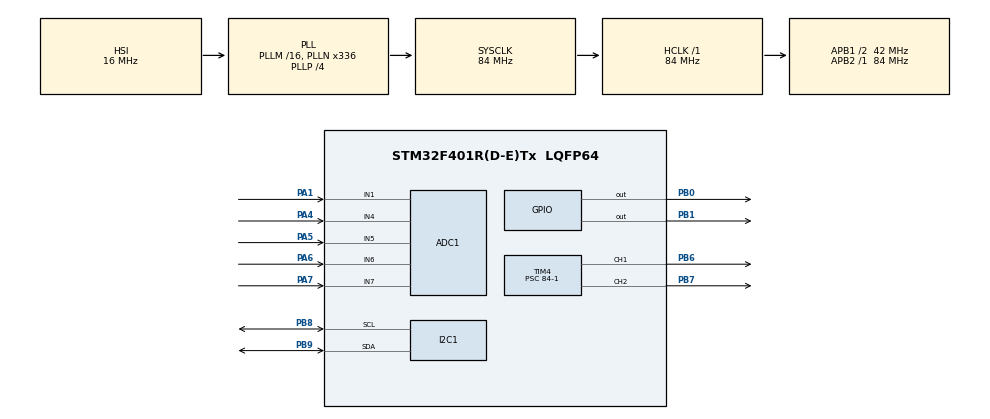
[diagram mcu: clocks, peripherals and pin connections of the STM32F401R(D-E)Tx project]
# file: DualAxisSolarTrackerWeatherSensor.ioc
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ADC1.Channel-0\#ChannelRegularConversion=ADC_CHANNEL_1
ADC1.NbrOfConversionFlag=1
ADC1.Rank-0\#ChannelRegularConversion=1
ADC1.SamplingTime-0\#ChannelRegularConversion=ADC_SAMPLETIME_3CYCLES
ADC1.master=1
Mcu.Family=STM32F4
Mcu.Name=STM32F401R(D-E)Tx
Mcu.Package=LQFP64
NVIC.PriorityGroup=NVIC_PRIORITYGROUP_4
PA1.Signal=ADCx_IN1
PA13.Mode=Serial_Wire
PA13.Signal=SYS_JTMS-SWDIO
PA14.Mode=Serial_Wire
PA14.Signal=SYS_JTCK-SWCLK
PA4.Signal=ADCx_IN4
PA5.Signal=ADCx_IN5
PA6.Signal=ADCx_IN6
PA7.Signal=ADCx_IN7
PB0.Signal=GPIO_Output
PB1.Signal=GPIO_Output
PB6.Signal=S_TIM4_CH1
PB7.Signal=S_TIM4_CH2
PB8.Mode=I2C
PB8.Signal=I2C1_SCL
PB9.Mode=I2C
PB9.Signal=I2C1_SDA
PH0\ -\ OSC_IN.Mode=HSE-External-Oscillator
PH0\ -\ OSC_IN.Signal=RCC_OSC_IN
PH1\ -\ OSC_OUT.Mode=HSE-External-Oscillator
PH1\ -\ OSC_OUT.Signal=RCC_OSC_OUT
ProjectManager.HeapSize=0x200
ProjectManager.StackSize=0x400
ProjectManager.TargetToolchain=STM32CubeIDE
RCC.48MHZClocksFreq_Value=48000000
RCC.AHBFreq_Value=84000000
RCC.APB1CLKDivider=RCC_HCLK_DIV2
RCC.APB1Freq_Value=42000000
RCC.APB1TimFreq_Value=84000000
RCC.APB2Freq_Value=84000000
RCC.APB2TimFreq_Value=84000000
RCC.CortexFreq_Value=84000000
RCC.HCLKFreq_Value=84000000
RCC.HSE_VALUE=8000000
RCC.HSI_VALUE=16000000
RCC.PLLN=336
RCC.PLLP=RCC_PLLP_DIV4
RCC.PLLQ=7
RCC.SYSCLKFreq_VALUE=84000000
RCC.SYSCLKSource=RCC_SYSCLKSOURCE_PLLCLK
RCC.VCOOutputFreq_Value=336000000
SH.ADCx_IN1.0=ADC1_IN1,IN1
SH.ADCx_IN4.0=ADC1_IN4,IN4
SH.ADCx_IN5.0=ADC1_IN5,IN5
SH.ADCx_IN6.0=ADC1_IN6,IN6
SH.ADCx_IN7.0=ADC1_IN7,IN7
SH.S_TIM4_CH1.0=TIM4_CH1,PWM Generation1 CH1
SH.S_TIM4_CH2.0=TIM4_CH2,PWM Generation2 CH2
TIM4.Channel-PWM\ Generation1\ CH1=TIM_CHANNEL_1
TIM4.Channel-PWM\ Generation2\ CH2=TIM_CHANNEL_2
TIM4.Period=20000-1
TIM4.Prescaler=84-1
TIM4.Pulse-PWM\ Generation1\ CH1=1500
TIM4.Pulse-PWM\ Generation2\ CH2=1500
VP_TIM4_VS_ClockSourceINT.Mode=Internal
board=NUCLEO-F401RE

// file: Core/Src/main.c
/* USER CODE BEGIN Header */
/**
  ******************************************************************************
  * @file           : main.c
  * @brief          : Main program body
  ******************************************************************************
  * @attention
  *
  * Copyright (c) 2024 STMicroelectronics.
  * All rights reserved.
  *
  * This software is licensed under terms that can be found in the LICENSE file
  * in the root directory of this software component.
  * If no LICENSE file comes with this software, it is provided AS-IS.
  *
  ******************************************************************************
  */
/* USER CODE END Header */
#include "main.h"

/* USER CODE BEGIN Includes */
#include "i2c_lcd.h"
#include "dht11.h"
#include <stdio.h>
#include <stdlib.h>
/* USER CODE END Includes */

/* USER CODE BEGIN PD */
/* ADC channels for LDRs */
#define LDR_TR  ADC_CHANNEL_1   // Top-Right    (PA1)
#define LDR_TL  ADC_CHANNEL_4   // Top-Left     (PA4)
#define LDR_BR  ADC_CHANNEL_6   // Bottom-Right (PA6)
#define LDR_BL  ADC_CHANNEL_7   // Bottom-Left  (PA7)
#define RAIN    ADC_CHANNEL_5   // Rain Sensor  (PA5)
/* USER CODE END PD */

ADC_HandleTypeDef hadc1;

I2C_HandleTypeDef hi2c1;

TIM_HandleTypeDef htim4;
uint16_t ldr_values[4];        // Array to store LDR sensor values
float temperature = 0.0;        // Store temperature reading
float humidity = 0.0;          // Store humidity reading
uint16_t rain_value;           // Store rain sensor reading
char lcd_buffer[16];           // Buffer for LCD text formatting

/* USER CODE BEGIN PV */
#define RAIN_THRESHOLD 4000    // If reading > threshold, it's raining
/* USER CODE END PV */

void SystemClock_Config(void);
static void MX_GPIO_Init(void);
static void MX_ADC1_Init(void);
static void MX_I2C1_Init(void);
static void MX_TIM4_Init(void);

/* USER CODE BEGIN 0 */
static uint16_t Read_ADC(uint32_t channel);
void Set_Servo_Position(uint8_t servo, uint8_t angle);
void Update_LCD(void);
/* USER CODE END 0 */

int main(void)
{

  /* MCU Configuration--------------------------------------------------------*/

  /* Reset of all peripherals, Initializes the Flash interface and the Systick. */
  HAL_Init();

  /* Configure the system clock */
  SystemClock_Config();

  /* Initialize all configured peripherals */
  MX_GPIO_Init();
  MX_I2C1_Init();
  MX_ADC1_Init();
  MX_TIM4_Init();
  /* USER CODE BEGIN 2 */
  /* Start PWM for servos */
  HAL_TIM_PWM_Start(&htim4, TIM_CHANNEL_1);  // X-axis
  HAL_TIM_PWM_Start(&htim4, TIM_CHANNEL_2);  // Y-axis
  /* Initialize LCD */
  LCD_Init();
  /* Initial servo positions (center) */
  Set_Servo_Position(1, 90);  // X-axis
  Set_Servo_Position(2, 90);  // Y-axis
  /* USER CODE END 2 */

  /* Infinite loop */
  while (1)
  {

    /* USER CODE BEGIN 3 */
      /* Read LDR values */
      ldr_values[0] = Read_ADC(LDR_TR);
      ldr_values[1] = Read_ADC(LDR_TL);
      ldr_values[2] = Read_ADC(LDR_BR);
      ldr_values[3] = Read_ADC(LDR_BL);

      /* Read rain sensor */
      rain_value = Read_ADC(RAIN);

      /* Read temperature and humidity from DHT11 */
      if (DHT11_Read(&temperature, &humidity) == DHT11_OK) {
          // Reading successful
          HAL_GPIO_WritePin(GPIOC, GPIO_PIN_13, GPIO_PIN_SET);  // LED indicator
      } else {
          temperature = 0.0;
          humidity = 0.0;
          HAL_GPIO_WritePin(GPIOC, GPIO_PIN_13, GPIO_PIN_RESET); // LED indicator
      }

      /* Update LCD with new readings */
      Update_LCD();
      /* Calculate light differences for servo movement */
      // Positive x_diff means more light on right side
      int16_t x_diff = ((ldr_values[0] + ldr_values[2]) -  // Right side
                       (ldr_values[1] + ldr_values[3])) / 2;// Left side

      // Positive y_diff means more light on top side
      int16_t y_diff = ((ldr_values[0] + ldr_values[1]) -  // Top side
                       (ldr_values[2] + ldr_values[3])) / 2;// Bottom side

      /* Update servo positions based on light differences */
      static uint8_t x_angle = 90;  // Keep track of X servo angle
      static uint8_t y_angle = 90;  // Keep track of Y servo angle

      /* X-axis servo control */
      if (abs(x_diff) > 100) {  // If difference is significant
          x_angle += (x_diff > 0) ? 1 : -1;  // Move right or left
          // Keep angle within limits (0-180 degrees)
          x_angle = (x_angle > 180) ? 180 : (x_angle < 0) ? 0 : x_angle;
          Set_Servo_Position(1, x_angle);
      }

      /* Y-axis servo control */
      if (abs(y_diff) > 100) {  // If difference is significant
          y_angle += (y_diff > 0) ? 1 : -1;  // Move up or down
          // Keep angle within limits (0-180 degrees)
          y_angle = (y_angle > 180) ? 180 : (y_angle < 0) ? 0 : y_angle;
          Set_Servo_Position(2, y_angle);
     }

      /* Wait before next update */
      HAL_Delay(100);  // 100ms delay
  }
}

  /* USER CODE END 3 */

void SystemClock_Config(void)
{
  RCC_OscInitTypeDef RCC_OscInitStruct = {0};
  RCC_ClkInitTypeDef RCC_ClkInitStruct = {0};

  /** Configure the main internal regulator output voltage
  */
  __HAL_RCC_PWR_CLK_ENABLE();
  __HAL_PWR_VOLTAGESCALING_CONFIG(PWR_REGULATOR_VOLTAGE_SCALE2);

  /** Initializes the RCC Oscillators according to the specified parameters
  * in the RCC_OscInitTypeDef structure.
  */
  RCC_OscInitStruct.OscillatorType = RCC_OSCILLATORTYPE_HSI;
  RCC_OscInitStruct.HSIState = RCC_HSI_ON;
  RCC_OscInitStruct.HSICalibrationValue = RCC_HSICALIBRATION_DEFAULT;
  RCC_OscInitStruct.PLL.PLLState = RCC_PLL_ON;
  RCC_OscInitStruct.PLL.PLLSource = RCC_PLLSOURCE_HSI;
  RCC_OscInitStruct.PLL.PLLM = 16;
  RCC_OscInitStruct.PLL.PLLN = 336;
  RCC_OscInitStruct.PLL.PLLP = RCC_PLLP_DIV4;
  RCC_OscInitStruct.PLL.PLLQ = 7;
  if (HAL_RCC_OscConfig(&RCC_OscInitStruct) != HAL_OK)
  {
    Error_Handler();
  }

  /** Initializes the CPU, AHB and APB buses clocks
  */
  RCC_ClkInitStruct.ClockType = RCC_CLOCKTYPE_HCLK|RCC_CLOCKTYPE_SYSCLK
                              |RCC_CLOCKTYPE_PCLK1|RCC_CLOCKTYPE_PCLK2;
  RCC_ClkInitStruct.SYSCLKSource = RCC_SYSCLKSOURCE_PLLCLK;
  RCC_ClkInitStruct.AHBCLKDivider = RCC_SYSCLK_DIV1;
  RCC_ClkInitStruct.APB1CLKDivider = RCC_HCLK_DIV2;
  RCC_ClkInitStruct.APB2CLKDivider = RCC_HCLK_DIV1;

  if (HAL_RCC_ClockConfig(&RCC_ClkInitStruct, FLASH_LATENCY_2) != HAL_OK)
  {
    Error_Handler();
  }
}

static void MX_ADC1_Init(void)
{

  ADC_ChannelConfTypeDef sConfig = {0};

  /** Configure the global features of the ADC (Clock, Resolution, Data Alignment and number of conversion)
  */
  hadc1.Instance = ADC1;
  hadc1.Init.ClockPrescaler = ADC_CLOCK_SYNC_PCLK_DIV4;
  hadc1.Init.Resolution = ADC_RESOLUTION_12B;
  hadc1.Init.ScanConvMode = DISABLE;
  hadc1.Init.ContinuousConvMode = DISABLE;
  hadc1.Init.DiscontinuousConvMode = DISABLE;
  hadc1.Init.ExternalTrigConvEdge = ADC_EXTERNALTRIGCONVEDGE_NONE;
  hadc1.Init.ExternalTrigConv = ADC_SOFTWARE_START;
  hadc1.Init.DataAlign = ADC_DATAALIGN_RIGHT;
  hadc1.Init.NbrOfConversion = 1;
  hadc1.Init.DMAContinuousRequests = DISABLE;
  hadc1.Init.EOCSelection = ADC_EOC_SINGLE_CONV;
  if (HAL_ADC_Init(&hadc1) != HAL_OK)
  {
    Error_Handler();
  }

  /** Configure for the selected ADC regular channel its corresponding rank in the sequencer and its sample time.
  */
  sConfig.Channel = ADC_CHANNEL_1;
  sConfig.Rank = 1;
  sConfig.SamplingTime = ADC_SAMPLETIME_3CYCLES;
  if (HAL_ADC_ConfigChannel(&hadc1, &sConfig) != HAL_OK)
  {
    Error_Handler();
  }

}

static void MX_I2C1_Init(void)
{

  hi2c1.Instance = I2C1;
  hi2c1.Init.ClockSpeed = 100000;
  hi2c1.Init.DutyCycle = I2C_DUTYCYCLE_2;
  hi2c1.Init.OwnAddress1 = 0;
  hi2c1.Init.AddressingMode = I2C_ADDRESSINGMODE_7BIT;
  hi2c1.Init.DualAddressMode = I2C_DUALADDRESS_DISABLE;
  hi2c1.Init.OwnAddress2 = 0;
  hi2c1.Init.GeneralCallMode = I2C_GENERALCALL_DISABLE;
  hi2c1.Init.NoStretchMode = I2C_NOSTRETCH_DISABLE;
  if (HAL_I2C_Init(&hi2c1) != HAL_OK)
  {
    Error_Handler();
  }

}

static void MX_TIM4_Init(void)
{

  TIM_ClockConfigTypeDef sClockSourceConfig = {0};
  TIM_MasterConfigTypeDef sMasterConfig = {0};
  TIM_OC_InitTypeDef sConfigOC = {0};

  htim4.Instance = TIM4;
  htim4.Init.Prescaler = 84-1;
  htim4.Init.CounterMode = TIM_COUNTERMODE_UP;
  htim4.Init.Period = 20000-1;
  htim4.Init.ClockDivision = TIM_CLOCKDIVISION_DIV1;
  htim4.Init.AutoReloadPreload = TIM_AUTORELOAD_PRELOAD_DISABLE;
  if (HAL_TIM_Base_Init(&htim4) != HAL_OK)
  {
    Error_Handler();
  }
  sClockSourceConfig.ClockSource = TIM_CLOCKSOURCE_INTERNAL;
  if (HAL_TIM_ConfigClockSource(&htim4, &sClockSourceConfig) != HAL_OK)
  {
    Error_Handler();
  }
  if (HAL_TIM_PWM_Init(&htim4) != HAL_OK)
  {
    Error_Handler();
  }
  sMasterConfig.MasterOutputTrigger = TIM_TRGO_RESET;
  sMasterConfig.MasterSlaveMode = TIM_MASTERSLAVEMODE_DISABLE;
  if (HAL_TIMEx_MasterConfigSynchronization(&htim4, &sMasterConfig) != HAL_OK)
  {
    Error_Handler();
  }
  sConfigOC.OCMode = TIM_OCMODE_PWM1;
  sConfigOC.Pulse = 1500;
  sConfigOC.OCPolarity = TIM_OCPOLARITY_HIGH;
  sConfigOC.OCFastMode = TIM_OCFAST_DISABLE;
  if (HAL_TIM_PWM_ConfigChannel(&htim4, &sConfigOC, TIM_CHANNEL_1) != HAL_OK)
  {
    Error_Handler();
  }
  if (HAL_TIM_PWM_ConfigChannel(&htim4, &sConfigOC, TIM_CHANNEL_2) != HAL_OK)
  {
    Error_Handler();
  }
  HAL_TIM_MspPostInit(&htim4);

}

static void MX_GPIO_Init(void)
{
  GPIO_InitTypeDef GPIO_InitStruct = {0};

  /* GPIO Ports Clock Enable */
  __HAL_RCC_GPIOH_CLK_ENABLE();
  __HAL_RCC_GPIOA_CLK_ENABLE();
  __HAL_RCC_GPIOB_CLK_ENABLE();

  /*Configure GPIO pin Output Level */
  HAL_GPIO_WritePin(GPIOB, GPIO_PIN_0|GPIO_PIN_1, GPIO_PIN_RESET);

  /*Configure GPIO pins : PB0 PB1 */
  GPIO_InitStruct.Pin = GPIO_PIN_0;
  GPIO_InitStruct.Mode = GPIO_MODE_OUTPUT_PP;  // Start as output
  GPIO_InitStruct.Pull = GPIO_PULLUP;         // Enable pull-up
  GPIO_InitStruct.Speed = GPIO_SPEED_FREQ_LOW;
  HAL_GPIO_Init(GPIOB, &GPIO_InitStruct);

}

/* USER CODE BEGIN 4 */
/* Function to update LCD display */
void Update_LCD(void)
{
    /* First line: Temperature and Humidity */
    LCD_SetCursor(0, 0);
    sprintf(lcd_buffer, "%2dC %2d%%", (int)temperature, (int)humidity);
    LCD_Print(lcd_buffer);

    /* Second line: Rain Status with actual value */
    LCD_SetCursor(1, 0);
    sprintf(lcd_buffer, "Rain:%d %s", rain_value, (rain_value > RAIN_THRESHOLD) ? "Y" : "N");
    LCD_Print(lcd_buffer);
}

/* Function to read ADC value from specified channel */
static uint16_t Read_ADC(uint32_t channel)
{
    ADC_ChannelConfTypeDef sConfig = {0};

    /* Configure ADC channel */
    sConfig.Channel = channel;
    sConfig.Rank = 1;
    sConfig.SamplingTime = ADC_SAMPLETIME_84CYCLES;

    HAL_ADC_ConfigChannel(&hadc1, &sConfig);

    /* Start ADC and read value */
    HAL_ADC_Start(&hadc1);
    HAL_ADC_PollForConversion(&hadc1, 100);

    return HAL_ADC_GetValue(&hadc1);
}

/* Function to set servo position */
void Set_Servo_Position(uint8_t servo, uint8_t angle)
{
    /* Convert angle (0-180) to pulse width (500-2500) */
    uint32_t pulse = (angle * 11) + 500;

    /* Set PWM value for specified servo */
    if (servo == 1)
        __HAL_TIM_SET_COMPARE(&htim4, TIM_CHANNEL_1, pulse);  // X-axis
    else
        __HAL_TIM_SET_COMPARE(&htim4, TIM_CHANNEL_2, pulse);  // Y-axis
}
/* USER CODE END 4 */

void Error_Handler(void)
{
  __disable_irq();
  while (1)
  {
  }
}
